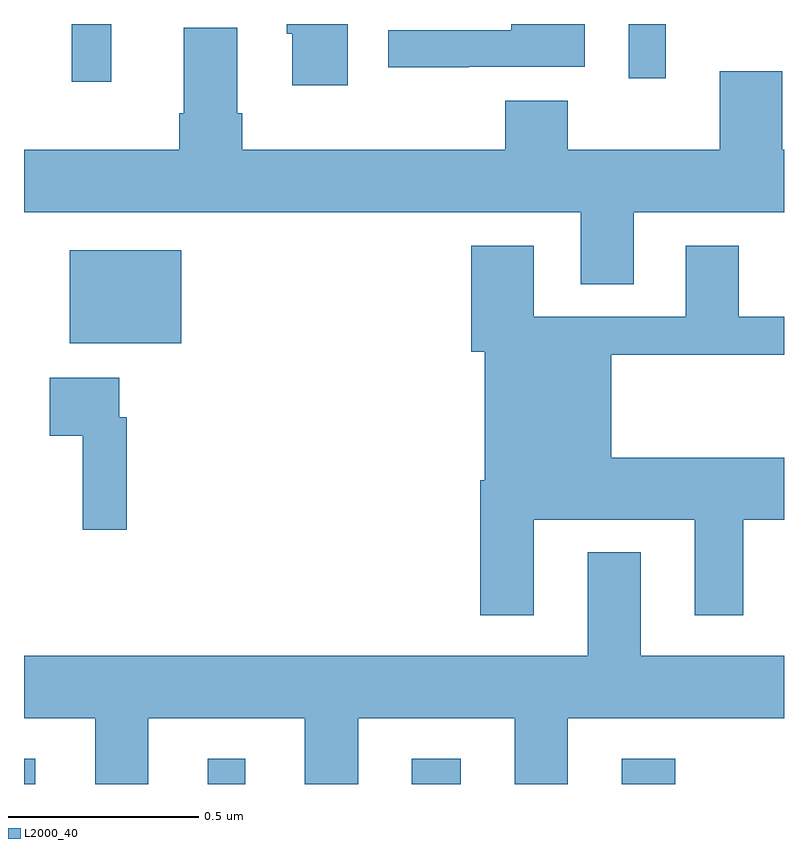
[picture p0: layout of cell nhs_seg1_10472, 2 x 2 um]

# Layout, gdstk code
import gdstk
lib = gdstk.Library(unit=1e-6, precision=1e-09)
def R(c, l, rs):  # rectangles x0, y0, x1, y1
    for r in rs: c.add(gdstk.rectangle(r[:2], r[2:], *l))
def P(c, l, *ps):  # polygons
    for p in ps: c.add(gdstk.Polygon(p, *l))
L2000_40 = (2000, 40)

nhs_seg1_10472 = lib.new_cell('nhs_seg1_10472')
R(nhs_seg1_10472, L2000_40, [(241,578.199,241.03,578.266), (241.484,578.199,241.582,578.266), (242.021,578.199,242.149,578.266), (242.573,578.199,242.714,578.266), (241.121,579.359,241.414,579.604), (241.126,580.047,241.229,580.199), (242.592,580.056,242.689,580.199)])
P(nhs_seg1_10472, L2000_40, [(242.171,580.086),(242.475,580.086),(242.475,580.199),(242.282,580.199),(242.282,580.182),(241.959,580.182),(241.959,580.085),(242.171,580.085)],
  [(241.852,580.199),(241.691,580.199),(241.691,580.173),(241.706,580.173),(241.706,580.038),(241.852,580.038)],
  [(242.605,579.704),(243,579.704),(243,579.868),(242.995,579.868),(242.995,580.075),(242.831,580.075),(242.831,579.868),(242.431,579.868),(242.431,579.997),(242.267,579.997),(242.267,579.868),(241.574,579.868),(241.574,579.964),(241.561,579.964),(241.561,580.189),(241.421,580.189),(241.421,579.964),(241.409,579.964),(241.409,579.868),(241,579.868),(241,579.704),(242.465,579.704),(242.465,579.514),(242.605,579.514)],
  [(242.341,578.894),(242.765,578.894),(242.765,578.643),(242.893,578.643),(242.893,578.894),(243,578.894),(243,579.058),(242.545,579.058),(242.545,579.328),(243,579.328),(243,579.429),(242.881,579.429),(242.881,579.616),(242.741,579.616),(242.741,579.429),(242.341,579.429),(242.341,579.616),(242.177,579.616),(242.177,579.336),(242.213,579.336),(242.213,578.998),(242.201,578.998),(242.201,578.643),(242.341,578.643)],
  [(241.271,579.164),(241.251,579.164),(241.251,579.268),(241.068,579.268),(241.068,579.116),(241.154,579.116),(241.154,578.868),(241.271,578.868)],
  [(241.327,578.372),(241.739,578.372),(241.739,578.199),(241.879,578.199),(241.879,578.372),(242.291,578.372),(242.291,578.199),(242.431,578.199),(242.431,578.372),(243,578.372),(243,578.536),(242.623,578.536),(242.623,578.809),(242.483,578.809),(242.483,578.536),(241,578.536),(241,578.372),(241.187,578.372),(241.187,578.199),(241.327,578.199)])

lib.write_gds('nhs_seg1_10472.gds')
